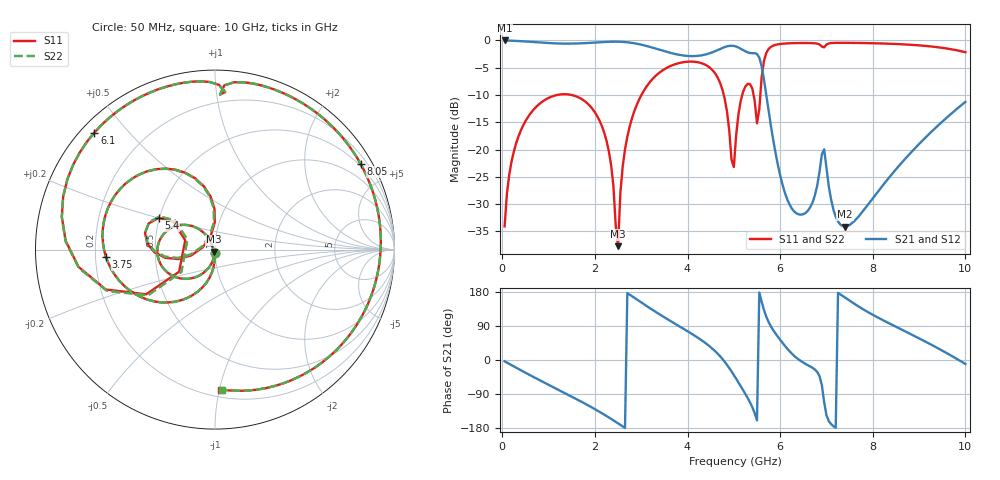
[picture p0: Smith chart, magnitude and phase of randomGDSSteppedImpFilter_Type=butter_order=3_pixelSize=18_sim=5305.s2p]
! freq	dB(S11)	phase(S11)	dB(S12)	phase(S12)
!  dB(S21)	phase(S21)	dB(S22)	phase(S22)
!S-par simulation data
#  GHz  S  DB  R 50
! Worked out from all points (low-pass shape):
!   200 points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, 50 MHz to 10 GHz, reference 50 ohm
!   highest |S21| = -0.01 dB at 50 MHz (marker M1); lowest = -34.1 dB at 7.4 GHz (marker M2)
!   |S21| within 3 dB of the highest: start of sweep to 5.539 GHz
!   lowest |S11| = -37.7 dB at 2.5 GHz (marker M3), VSWR 1.03, Z = 49.4 - j1.16 ohm
!   |S11| at or under -10 dB: start of sweep to 1.182 GHz; 1.499 GHz to 3.004 GHz (1.505 GHz wide, 66.9 % of centre); 4.783 GHz to 5.182 GHz (399.1 MHz wide, 8.01 % of centre) (the widest 3 of 4)
!   |S22| runs from -37.7 to -0.4 dB; largest |S21 - S12| = 0
!   S11 on the Smith chart (normalised r, x): 50 MHz: 1.00, -0.04; 3.75 GHz: 0.24, -0.03; 5.4 GHz: 0.49, +0.20; 6.1 GHz: 0.04, +0.41; 8.05 GHz: 0.43, +3.63; 10 GHz: 0.25, -1.01
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0.05  -34.07 -93.3  -0.01 -3.4  -0.01 -3.4  -34.07 -93.3
0.2  -22.18 -103.8  -0.05 -13.6  -0.05 -13.6  -22.18 -103.8
0.55  -14.10 -127.2  -0.22 -36.8  -0.22 -36.8  -14.10 -127.2
1.75  -10.94 157.4  -0.51 -112.7  -0.51 -112.7  -10.94 157.4
2.25  -18.36 124.8  -0.26 -147.8  -0.26 -147.8  -18.36 124.7
2.5  -37.69 -116.3  -0.23 -167.2  -0.23 -167.2  -37.75 -115.9
2.75  -15.80 -101.3  -0.39 172.5  -0.39 172.5  -15.81 -101.2
3.4  -5.86 -151.0  -1.72 120.2  -1.72 120.2  -5.86 -150.9
3.75  -4.31 -176.2  -2.52 94.3  -2.52 94.3  -4.30 -176.2
4.55  -5.55 121.2  -2.13 28.5  -2.13 28.5  -5.54 121.5
5  -23.19 169.4  -1.01 -39.6  -1.01 -39.6  -22.58 166.9
5.05  -17.35 -166.2  -1.12 -49.4  -1.12 -49.4  -17.18 -168.7
5.4  -8.86 150.7  -2.33 -124.9  -2.33 -124.9  -8.90 149.0
5.5  -15.20 162.6  -2.48 -159.3  -2.48 -159.3  -15.73 160.2
5.65  -3.77 -159.9  -7.13 132.1  -7.13 132.1  -3.82 -159.1
6.1  -0.57 135.8  -27.86 37.8  -27.86 37.8  -0.57 136.0
6.7  -0.50 97.7  -29.69 -20.7  -29.69 -20.7  -0.50 97.8
6.95  -1.26 88.1  -19.95 -111.0  -19.95 -111.0  -1.27 88.2
7.4  -0.44 64.0  -34.11 165.0  -34.11 165.0  -0.44 64.0
8.05  -0.52 30.4  -28.38 116.0  -28.38 116.0  -0.52 30.6
8.35  -0.60 14.5  -25.14 97.0  -25.14 97.0  -0.60 14.7
10  -2.16 -87.7  -11.26 -10.6  -11.26 -10.6  -2.15 -87.3
